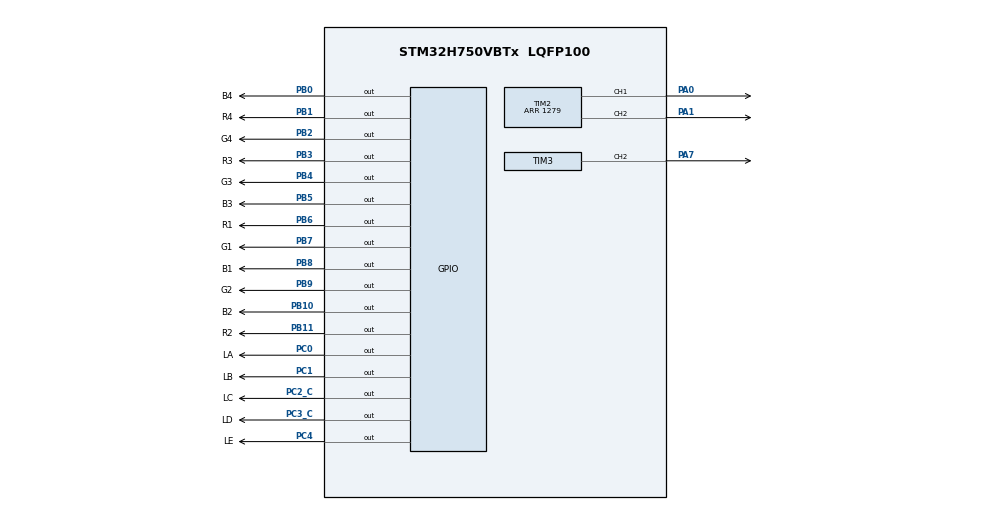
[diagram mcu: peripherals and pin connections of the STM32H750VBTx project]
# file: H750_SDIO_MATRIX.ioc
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CORTEX_M7.CPU_DCache=Enabled
CORTEX_M7.CPU_ICache=Enabled
Dma.Request0=TIM3_CH2
Dma.TIM3_CH2.0.Direction=DMA_MEMORY_TO_PERIPH
Dma.TIM3_CH2.0.EventEnable=DISABLE
Dma.TIM3_CH2.0.FIFOMode=DMA_FIFOMODE_DISABLE
Dma.TIM3_CH2.0.Instance=DMA1_Stream0
Dma.TIM3_CH2.0.MemDataAlignment=DMA_MDATAALIGN_HALFWORD
Dma.TIM3_CH2.0.MemInc=DMA_MINC_ENABLE
Dma.TIM3_CH2.0.Mode=DMA_CIRCULAR
Dma.TIM3_CH2.0.PeriphDataAlignment=DMA_PDATAALIGN_HALFWORD
Dma.TIM3_CH2.0.PeriphInc=DMA_PINC_DISABLE
Dma.TIM3_CH2.0.Polarity=HAL_DMAMUX_REQ_GEN_RISING
Dma.TIM3_CH2.0.Priority=DMA_PRIORITY_VERY_HIGH
Dma.TIM3_CH2.0.RequestNumber=1
Dma.TIM3_CH2.0.SignalID=NONE
Dma.TIM3_CH2.0.SyncEnable=DISABLE
Dma.TIM3_CH2.0.SyncPolarity=HAL_DMAMUX_SYNC_NO_EVENT
Dma.TIM3_CH2.0.SyncRequestNumber=1
Dma.TIM3_CH2.0.SyncSignalID=NONE
Mcu.Family=STM32H7
Mcu.Name=STM32H750VBTx
Mcu.Package=LQFP100
NVIC.DMA1_Stream0_IRQn=true\:0\:0\:false\:false\:true\:false\:true
NVIC.PriorityGroup=NVIC_PRIORITYGROUP_4
NVIC.TIM2_IRQn=true\:0\:0\:false\:false\:true\:true\:true
PA0.GPIO_Speed=GPIO_SPEED_FREQ_VERY_HIGH
PA0.Signal=S_TIM2_CH1
PA1.GPIO_Speed=GPIO_SPEED_FREQ_VERY_HIGH
PA1.Signal=S_TIM2_CH2
PA7.GPIO_PuPd=GPIO_NOPULL
PA7.GPIO_Speed=GPIO_SPEED_FREQ_VERY_HIGH
PA7.Signal=S_TIM3_CH2
PB0.GPIO_Label=B4
PB0.GPIO_ModeDefaultOutputPP=GPIO_MODE_OUTPUT_PP
PB0.GPIO_PuPd=GPIO_NOPULL
PB0.GPIO_Speed=GPIO_SPEED_FREQ_VERY_HIGH
PB0.PinState=GPIO_PIN_RESET
PB0.Signal=GPIO_Output
PB1.GPIO_Label=R4
PB1.GPIO_ModeDefaultOutputPP=GPIO_MODE_OUTPUT_PP
PB1.GPIO_PuPd=GPIO_NOPULL
PB1.GPIO_Speed=GPIO_SPEED_FREQ_VERY_HIGH
PB1.PinState=GPIO_PIN_RESET
PB1.Signal=GPIO_Output
PB10.GPIO_Label=B2
PB10.GPIO_ModeDefaultOutputPP=GPIO_MODE_OUTPUT_PP
PB10.GPIO_PuPd=GPIO_NOPULL
PB10.GPIO_Speed=GPIO_SPEED_FREQ_VERY_HIGH
PB10.PinState=GPIO_PIN_RESET
PB10.Signal=GPIO_Output
PB11.GPIO_Label=R2
PB11.GPIO_ModeDefaultOutputPP=GPIO_MODE_OUTPUT_PP
PB11.GPIO_PuPd=GPIO_NOPULL
PB11.GPIO_Speed=GPIO_SPEED_FREQ_VERY_HIGH
PB11.PinState=GPIO_PIN_RESET
PB11.Signal=GPIO_Output
PB2.GPIO_Label=G4
PB2.GPIO_ModeDefaultOutputPP=GPIO_MODE_OUTPUT_PP
PB2.GPIO_PuPd=GPIO_NOPULL
PB2.GPIO_Speed=GPIO_SPEED_FREQ_VERY_HIGH
PB2.PinState=GPIO_PIN_RESET
PB2.Signal=GPIO_Output
PB3\ (JTDO/TRACESWO).GPIO_Label=R3
PB3\ (JTDO/TRACESWO).GPIO_ModeDefaultOutputPP=GPIO_MODE_OUTPUT_PP
PB3\ (JTDO/TRACESWO).GPIO_PuPd=GPIO_NOPULL
PB3\ (JTDO/TRACESWO).GPIO_Speed=GPIO_SPEED_FREQ_VERY_HIGH
PB3\ (JTDO/TRACESWO).PinState=GPIO_PIN_RESET
PB3\ (JTDO/TRACESWO).Signal=GPIO_Output
PB4\ (NJTRST).GPIO_Label=G3
PB4\ (NJTRST).GPIO_ModeDefaultOutputPP=GPIO_MODE_OUTPUT_PP
PB4\ (NJTRST).GPIO_PuPd=GPIO_NOPULL
PB4\ (NJTRST).GPIO_Speed=GPIO_SPEED_FREQ_VERY_HIGH
PB4\ (NJTRST).PinState=GPIO_PIN_RESET
PB4\ (NJTRST).Signal=GPIO_Output
PB5.GPIO_Label=B3
PB5.GPIO_ModeDefaultOutputPP=GPIO_MODE_OUTPUT_PP
PB5.GPIO_PuPd=GPIO_NOPULL
PB5.GPIO_Speed=GPIO_SPEED_FREQ_VERY_HIGH
PB5.PinState=GPIO_PIN_RESET
PB5.Signal=GPIO_Output
PB6.GPIO_FM6=SYSCFG_PMCR_I2C_PB6_FMP
PB6.GPIO_Label=R1
PB6.GPIO_ModeDefaultOutputPP=GPIO_MODE_OUTPUT_PP
PB6.GPIO_PuPd=GPIO_NOPULL
PB6.GPIO_Speed=GPIO_SPEED_FREQ_VERY_HIGH
PB6.PinState=GPIO_PIN_RESET
PB6.Signal=GPIO_Output
PB7.GPIO_FM7=SYSCFG_PMCR_I2C_PB7_FMP
PB7.GPIO_Label=G1
PB7.GPIO_ModeDefaultOutputPP=GPIO_MODE_OUTPUT_PP
PB7.GPIO_PuPd=GPIO_NOPULL
PB7.GPIO_Speed=GPIO_SPEED_FREQ_VERY_HIGH
PB7.PinState=GPIO_PIN_RESET
PB7.Signal=GPIO_Output
PB8.GPIO_FM8=SYSCFG_PMCR_I2C_PB8_FMP
PB8.GPIO_Label=B1
PB8.GPIO_ModeDefaultOutputPP=GPIO_MODE_OUTPUT_PP
PB8.GPIO_PuPd=GPIO_NOPULL
PB8.GPIO_Speed=GPIO_SPEED_FREQ_VERY_HIGH
PB8.PinState=GPIO_PIN_RESET
PB8.Signal=GPIO_Output
PB9.GPIO_FM9=SYSCFG_PMCR_I2C_PB9_FMP
PB9.GPIO_Label=G2
PB9.GPIO_ModeDefaultOutputPP=GPIO_MODE_OUTPUT_PP
PB9.GPIO_PuPd=GPIO_NOPULL
PB9.GPIO_Speed=GPIO_SPEED_FREQ_VERY_HIGH
PB9.PinState=GPIO_PIN_RESET
PB9.Signal=GPIO_Output
PC0.GPIO_Label=LA
PC0.GPIO_ModeDefaultOutputPP=GPIO_MODE_OUTPUT_PP
PC0.GPIO_PuPd=GPIO_NOPULL
PC0.GPIO_Speed=GPIO_SPEED_FREQ_VERY_HIGH
PC0.PinState=GPIO_PIN_RESET
PC0.Signal=GPIO_Output
PC1.GPIO_Label=LB
PC1.GPIO_ModeDefaultOutputPP=GPIO_MODE_OUTPUT_PP
PC1.GPIO_PuPd=GPIO_NOPULL
PC1.GPIO_Speed=GPIO_SPEED_FREQ_VERY_HIGH
PC1.PinState=GPIO_PIN_RESET
PC1.Signal=GPIO_Output
PC2_C.GPIO_Label=LC
PC2_C.GPIO_ModeDefaultOutputPP=GPIO_MODE_OUTPUT_PP
PC2_C.GPIO_PuPd=GPIO_NOPULL
PC2_C.GPIO_Speed=GPIO_SPEED_FREQ_VERY_HIGH
PC2_C.PinState=GPIO_PIN_RESET
PC2_C.Signal=GPIO_Output
PC3_C.GPIO_Label=LD
PC3_C.GPIO_Speed=GPIO_SPEED_FREQ_VERY_HIGH
PC3_C.Signal=GPIO_Output
PC4.GPIO_Label=LE
PC4.GPIO_ModeDefaultOutputPP=GPIO_MODE_OUTPUT_PP
PC4.GPIO_PuPd=GPIO_NOPULL
PC4.GPIO_Speed=GPIO_SPEED_FREQ_VERY_HIGH
PC4.PinState=GPIO_PIN_RESET
PC4.Signal=GPIO_Output
PH0-OSC_IN\ (PH0).Mode=HSE-External-Oscillator
PH0-OSC_IN\ (PH0).Signal=RCC_OSC_IN
PH1-OSC_OUT\ (PH1).Mode=HSE-External-Oscillator
PH1-OSC_OUT\ (PH1).Signal=RCC_OSC_OUT
ProjectManager.HeapSize=0x400
ProjectManager.StackSize=0x800
ProjectManager.TargetToolchain=STM32CubeIDE
RCC.ADCFreq_Value=50390625
RCC.APB1Freq_Value=90000000
RCC.APB2Freq_Value=90000000
RCC.APB3Freq_Value=90000000
RCC.APB4Freq_Value=90000000
RCC.CortexFreq_Value=180000000
RCC.DIVM1=5
RCC.DIVN1=72
RCC.DIVQ1=20
RCC.HCLKFreq_Value=90000000
RCC.HPRE=RCC_HCLK_DIV2
RCC.HSE_VALUE=25000000
RCC.PLL2FRACN=0
RCC.PLL3FRACN=0
RCC.PLLFRACN=0
RCC.PLLSourceVirtual=RCC_PLLSOURCE_HSE
RCC.SYSCLKFreq_VALUE=180000000
RCC.SYSCLKSource=RCC_SYSCLKSOURCE_PLLCLK
RCC.USBFreq_Value=18000000
SH.S_TIM2_CH1.0=TIM2_CH1,PWM Generation1 CH1
SH.S_TIM2_CH2.0=TIM2_CH2,PWM Generation2 CH2
SH.S_TIM3_CH2.0=TIM3_CH2,PWM Generation2 CH2
TIM2.AutoReloadPreload=TIM_AUTORELOAD_PRELOAD_ENABLE
TIM2.Channel-PWM\ Generation1\ CH1=TIM_CHANNEL_1
TIM2.Channel-PWM\ Generation2\ CH2=TIM_CHANNEL_2
TIM2.OC1Preload_PWM=DISABLE
TIM2.OCFastMode_PWM-PWM\ Generation2\ CH2=TIM_OCFAST_DISABLE
TIM2.Period=1279
TIM2.Pulse-PWM\ Generation1\ CH1=12
TIM2.Pulse-PWM\ Generation2\ CH2=1280
TIM2.TIM_MasterOutputTrigger=TIM_TRGO_UPDATE
TIM2.TIM_MasterSlaveMode=TIM_MASTERSLAVEMODE_DISABLE
TIM3.AutoReloadPreload=TIM_AUTORELOAD_PRELOAD_ENABLE
TIM3.Channel-PWM\ Generation2\ CH2=TIM_CHANNEL_2
TIM3.OCFastMode_PWM-PWM\ Generation2\ CH2=TIM_OCFAST_ENABLE
TIM3.Period=19
TIM3.Prescaler=0
TIM3.Pulse-PWM\ Generation2\ CH2=10
TIM3.TIM_MasterOutputTrigger=TIM_TRGO_UPDATE
TIM3.TIM_MasterSlaveMode=TIM_MASTERSLAVEMODE_ENABLE
VP_TIM2_VS_ClockSourceITR.Mode=TriggerSource_ITR2
VP_TIM2_VS_ControllerModeClock.Mode=Clock Mode
VP_TIM3_VS_ClockSourceINT.Mode=Internal
board=custom

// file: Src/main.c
/* USER CODE BEGIN Header */
/**
  ******************************************************************************
  * @file           : main.c
  * @brief          : Main program body
  ******************************************************************************
  * @attention
  *
  * <h2><center>&copy; Copyright (c) 2020 STMicroelectronics.
  * All rights reserved.</center></h2>
  *
  * This software component is licensed by ST under Ultimate Liberty license
  * SLA0044, the "License"; You may not use this file except in compliance with
  * the License. You may obtain a copy of the License at:
  *                             www.st.com/SLA0044
  *
  ******************************************************************************
  */
/* USER CODE END Header */
#include "main.h"

/* USER CODE BEGIN Includes */
#include "matrix.h"
#include "stdio.h"

/* USER CODE END Includes */

/* USER CODE BEGIN PD */
#define PRESCALER 3U
/* USER CODE END PD */

/* USER CODE BEGIN PV */
extern uint16_t gBuff[];
/* USER CODE END PV */

void SystemClock_Config(void);
static void MX_GPIO_Init(void);
static void MX_DMA_Init(void);
static void MX_TIM2_Init(void);
static void MX_TIM3_Init(void);

int main(void)
{

  /* Enable I-Cache---------------------------------------------------------*/
  SCB_EnableICache();

  /* Enable D-Cache---------------------------------------------------------*/
  SCB_EnableDCache();

  /* MCU Configuration--------------------------------------------------------*/

  /* Reset of all peripherals, Initializes the Flash interface and the Systick. */

  LL_APB4_GRP1_EnableClock(LL_APB4_GRP1_PERIPH_SYSCFG);

  NVIC_SetPriorityGrouping(NVIC_PRIORITYGROUP_4);

  /* System interrupt init*/

  /* Configure the system clock */
  SystemClock_Config();

  /* Initialize all configured peripherals */
  MX_GPIO_Init();
  MX_DMA_Init();
  MX_TIM2_Init();
  MX_TIM3_Init();
  /* USER CODE BEGIN 2 */
    MATRIX_Init( 90 );
  /* plasma(); */
  /* MATRIX_FillScreen(0xFFFF); */
  for (uint16_t i = 0; i < 6144U; i++)
  {
    gBuff[i] = 0xFFF;
  }
  LL_mDelay(300);
/*   LL_DBGMCU_APB1_GRP1_FreezePeriph(LL_DBGMCU_APB1_GRP1_TIM2_STOP);
  LL_DBGMCU_APB1_GRP1_FreezePeriph(LL_DBGMCU_APB1_GRP1_TIM3_STOP); */
  /*! 64 col, 5 Bits per colour channel, 16 rows) */
  LL_DMA_SetDataLength(DMA1, LL_DMA_STREAM_0, 6144U);
  LL_DMA_SetPeriphAddress(DMA1, LL_DMA_STREAM_0, (uint32_t)&(GPIOB->ODR));
  LL_DMA_SetMemoryAddress(DMA1, LL_DMA_STREAM_0, gBuff);
  LL_DMA_SetMemory1Address(DMA1, LL_DMA_STREAM_0, gBuff);
  LL_DMAMUX_EnableEventGeneration( DMAMUX1, LL_DMAMUX_CHANNEL_0);
  LL_DMA_EnableIT_TC(DMA1, LL_DMA_STREAM_0);
  LL_DMA_ClearFlag_TC0(DMA1);
  LL_DMA_EnableStream(DMA1, LL_DMA_STREAM_0);

  LL_TIM_CC_EnableChannel(TIM2, LL_TIM_CHANNEL_CH1);
  LL_TIM_CC_EnableChannel(TIM2, LL_TIM_CHANNEL_CH2);

  LL_TIM_CC_EnableChannel(TIM3, LL_TIM_CHANNEL_CH2);
  LL_TIM_EnableDMAReq_CC2(TIM3);

  LL_TIM_GenerateEvent_UPDATE(TIM3);
  TIM3->SR = 0U;
  /* LL_TIM_EnableIT_UPDATE(TIM3); */

  LL_TIM_GenerateEvent_UPDATE(TIM2);
  LL_TIM_ClearFlag_UPDATE(TIM2);
  TIM2->SR = 0U;
  LL_TIM_EnableIT_UPDATE(TIM2);
  /* LL_TIM_SetCounter(TIM2, 15U); */

  LL_TIM_EnableCounter(TIM2);
  LL_TIM_EnableCounter(TIM3);

  /* LL_TIM_OC_SetCompareCH2(TIM2, 400); */
  LL_TIM_OC_SetCompareCH2(TIM2, 1280U - BRIGHTNESS);

  /* USER CODE END 2 */

  /* Infinite loop */
  /* USER CODE BEGIN WHILE */
  /* plasma(); */
  /* LL_mDelay(3000); */
  /* MATRIX_FillScreen(0xFFFF); */
  while (1)
  {
    // GPIOC->ODR = 6U;
    /* plasma(); */
    /* USER CODE END WHILE */

  }
}

void SystemClock_Config(void)
{
  LL_FLASH_SetLatency(LL_FLASH_LATENCY_1);
  while(LL_FLASH_GetLatency()!= LL_FLASH_LATENCY_1)
  {
  }
  LL_PWR_ConfigSupply(LL_PWR_LDO_SUPPLY);
  LL_PWR_SetRegulVoltageScaling(LL_PWR_REGU_VOLTAGE_SCALE3);
  LL_RCC_HSE_Enable();

   /* Wait till HSE is ready */
  while(LL_RCC_HSE_IsReady() != 1)
  {

  }
  LL_RCC_PLL_SetSource(LL_RCC_PLLSOURCE_HSE);
  LL_RCC_PLL1P_Enable();
  LL_RCC_PLL1_SetVCOInputRange(LL_RCC_PLLINPUTRANGE_4_8);
  LL_RCC_PLL1_SetVCOOutputRange(LL_RCC_PLLVCORANGE_WIDE);
  LL_RCC_PLL1_SetM(5);
  LL_RCC_PLL1_SetN(72);
  LL_RCC_PLL1_SetP(2);
  LL_RCC_PLL1_SetQ(20);
  LL_RCC_PLL1_SetR(2);
  LL_RCC_PLL1_Enable();

   /* Wait till PLL is ready */
  while(LL_RCC_PLL1_IsReady() != 1)
  {
  }

   /* Intermediate AHB prescaler 2 when target frequency clock is higher than 80 MHz */
   LL_RCC_SetAHBPrescaler(LL_RCC_AHB_DIV_2);

  LL_RCC_SetSysClkSource(LL_RCC_SYS_CLKSOURCE_PLL1);
  LL_RCC_SetSysPrescaler(LL_RCC_SYSCLK_DIV_1);
  LL_RCC_SetAHBPrescaler(LL_RCC_AHB_DIV_2);
  LL_RCC_SetAPB1Prescaler(LL_RCC_APB1_DIV_1);
  LL_RCC_SetAPB2Prescaler(LL_RCC_APB2_DIV_1);
  LL_RCC_SetAPB3Prescaler(LL_RCC_APB3_DIV_1);
  LL_RCC_SetAPB4Prescaler(LL_RCC_APB4_DIV_1);

  LL_Init1msTick(180000000);

  LL_SetSystemCoreClock(180000000);
}

static void MX_TIM2_Init(void)
{

  LL_TIM_InitTypeDef TIM_InitStruct = {0};
  LL_TIM_OC_InitTypeDef TIM_OC_InitStruct = {0};

  LL_GPIO_InitTypeDef GPIO_InitStruct = {0};

  /* Peripheral clock enable */
  LL_APB1_GRP1_EnableClock(LL_APB1_GRP1_PERIPH_TIM2);

  /* TIM2 interrupt Init */
  NVIC_SetPriority(TIM2_IRQn, NVIC_EncodePriority(NVIC_GetPriorityGrouping(),0, 0));
  NVIC_EnableIRQ(TIM2_IRQn);

  TIM_InitStruct.Prescaler = 0;
  TIM_InitStruct.CounterMode = LL_TIM_COUNTERMODE_UP;
  TIM_InitStruct.Autoreload = 1279;
  TIM_InitStruct.ClockDivision = LL_TIM_CLOCKDIVISION_DIV1;
  LL_TIM_Init(TIM2, &TIM_InitStruct);
  LL_TIM_EnableARRPreload(TIM2);
  LL_TIM_OC_EnablePreload(TIM2, LL_TIM_CHANNEL_CH1);
  TIM_OC_InitStruct.OCMode = LL_TIM_OCMODE_PWM1;
  TIM_OC_InitStruct.OCState = LL_TIM_OCSTATE_DISABLE;
  TIM_OC_InitStruct.OCNState = LL_TIM_OCSTATE_DISABLE;
  TIM_OC_InitStruct.CompareValue = 12;
  TIM_OC_InitStruct.OCPolarity = LL_TIM_OCPOLARITY_HIGH;
  LL_TIM_OC_Init(TIM2, LL_TIM_CHANNEL_CH1, &TIM_OC_InitStruct);
  LL_TIM_OC_DisableFast(TIM2, LL_TIM_CHANNEL_CH1);
  LL_TIM_OC_EnablePreload(TIM2, LL_TIM_CHANNEL_CH2);
  TIM_OC_InitStruct.CompareValue = 1280;
  LL_TIM_OC_Init(TIM2, LL_TIM_CHANNEL_CH2, &TIM_OC_InitStruct);
  LL_TIM_OC_DisableFast(TIM2, LL_TIM_CHANNEL_CH2);
  LL_TIM_SetTriggerInput(TIM2, LL_TIM_TS_ITR2);
  LL_TIM_SetClockSource(TIM2, LL_TIM_CLOCKSOURCE_EXT_MODE1);
  LL_TIM_DisableIT_TRIG(TIM2);
  LL_TIM_DisableDMAReq_TRIG(TIM2);
  LL_TIM_SetTriggerOutput(TIM2, LL_TIM_TRGO_UPDATE);
  LL_TIM_DisableMasterSlaveMode(TIM2);
  LL_TIM_OC_DisablePreload(TIM2, LL_TIM_CHANNEL_CH1);
  LL_AHB4_GRP1_EnableClock(LL_AHB4_GRP1_PERIPH_GPIOA);
  /**TIM2 GPIO Configuration
  PA0   ------> TIM2_CH1
  PA1   ------> TIM2_CH2
  */
  GPIO_InitStruct.Pin = LL_GPIO_PIN_0|LL_GPIO_PIN_1;
  GPIO_InitStruct.Mode = LL_GPIO_MODE_ALTERNATE;
  GPIO_InitStruct.Speed = LL_GPIO_SPEED_FREQ_VERY_HIGH;
  GPIO_InitStruct.OutputType = LL_GPIO_OUTPUT_PUSHPULL;
  GPIO_InitStruct.Pull = LL_GPIO_PULL_NO;
  GPIO_InitStruct.Alternate = LL_GPIO_AF_1;
  LL_GPIO_Init(GPIOA, &GPIO_InitStruct);

}

static void MX_TIM3_Init(void)
{

  LL_TIM_InitTypeDef TIM_InitStruct = {0};
  LL_TIM_OC_InitTypeDef TIM_OC_InitStruct = {0};

  LL_GPIO_InitTypeDef GPIO_InitStruct = {0};

  /* Peripheral clock enable */
  LL_APB1_GRP1_EnableClock(LL_APB1_GRP1_PERIPH_TIM3);

  /* TIM3 DMA Init */

  /* TIM3_CH2 Init */
  LL_DMA_SetPeriphRequest(DMA1, LL_DMA_STREAM_0, LL_DMAMUX1_REQ_TIM3_CH2);

  LL_DMA_SetDataTransferDirection(DMA1, LL_DMA_STREAM_0, LL_DMA_DIRECTION_MEMORY_TO_PERIPH);

  LL_DMA_SetStreamPriorityLevel(DMA1, LL_DMA_STREAM_0, LL_DMA_PRIORITY_VERYHIGH);

  LL_DMA_SetMode(DMA1, LL_DMA_STREAM_0, LL_DMA_MODE_CIRCULAR);

  LL_DMA_SetPeriphIncMode(DMA1, LL_DMA_STREAM_0, LL_DMA_PERIPH_NOINCREMENT);

  LL_DMA_SetMemoryIncMode(DMA1, LL_DMA_STREAM_0, LL_DMA_MEMORY_INCREMENT);

  LL_DMA_SetPeriphSize(DMA1, LL_DMA_STREAM_0, LL_DMA_PDATAALIGN_HALFWORD);

  LL_DMA_SetMemorySize(DMA1, LL_DMA_STREAM_0, LL_DMA_MDATAALIGN_HALFWORD);

  LL_DMA_DisableFifoMode(DMA1, LL_DMA_STREAM_0);

  TIM_InitStruct.Prescaler = 0;
  TIM_InitStruct.CounterMode = LL_TIM_COUNTERMODE_UP;
  TIM_InitStruct.Autoreload = 19;
  TIM_InitStruct.ClockDivision = LL_TIM_CLOCKDIVISION_DIV1;
  LL_TIM_Init(TIM3, &TIM_InitStruct);
  LL_TIM_EnableARRPreload(TIM3);
  LL_TIM_SetClockSource(TIM3, LL_TIM_CLOCKSOURCE_INTERNAL);
  LL_TIM_OC_EnablePreload(TIM3, LL_TIM_CHANNEL_CH2);
  TIM_OC_InitStruct.OCMode = LL_TIM_OCMODE_PWM1;
  TIM_OC_InitStruct.OCState = LL_TIM_OCSTATE_DISABLE;
  TIM_OC_InitStruct.OCNState = LL_TIM_OCSTATE_DISABLE;
  TIM_OC_InitStruct.CompareValue = 10;
  TIM_OC_InitStruct.OCPolarity = LL_TIM_OCPOLARITY_HIGH;
  LL_TIM_OC_Init(TIM3, LL_TIM_CHANNEL_CH2, &TIM_OC_InitStruct);
  LL_TIM_OC_EnableFast(TIM3, LL_TIM_CHANNEL_CH2);
  LL_TIM_SetTriggerOutput(TIM3, LL_TIM_TRGO_UPDATE);
  LL_TIM_EnableMasterSlaveMode(TIM3);
  LL_AHB4_GRP1_EnableClock(LL_AHB4_GRP1_PERIPH_GPIOA);
  /**TIM3 GPIO Configuration
  PA7   ------> TIM3_CH2
  */
  GPIO_InitStruct.Pin = LL_GPIO_PIN_7;
  GPIO_InitStruct.Mode = LL_GPIO_MODE_ALTERNATE;
  GPIO_InitStruct.Speed = LL_GPIO_SPEED_FREQ_VERY_HIGH;
  GPIO_InitStruct.OutputType = LL_GPIO_OUTPUT_PUSHPULL;
  GPIO_InitStruct.Pull = LL_GPIO_PULL_NO;
  GPIO_InitStruct.Alternate = LL_GPIO_AF_2;
  LL_GPIO_Init(GPIOA, &GPIO_InitStruct);

}

static void MX_DMA_Init(void)
{

  /* Init with LL driver */
  /* DMA controller clock enable */
  LL_AHB1_GRP1_EnableClock(LL_AHB1_GRP1_PERIPH_DMA1);

  /* DMA interrupt init */
  /* DMA1_Stream0_IRQn interrupt configuration */
  NVIC_SetPriority(DMA1_Stream0_IRQn, NVIC_EncodePriority(NVIC_GetPriorityGrouping(),0, 0));
  NVIC_EnableIRQ(DMA1_Stream0_IRQn);

}

static void MX_GPIO_Init(void)
{
  LL_GPIO_InitTypeDef GPIO_InitStruct = {0};

  /* GPIO Ports Clock Enable */
  LL_AHB4_GRP1_EnableClock(LL_AHB4_GRP1_PERIPH_GPIOH);
  LL_AHB4_GRP1_EnableClock(LL_AHB4_GRP1_PERIPH_GPIOC);
  LL_AHB4_GRP1_EnableClock(LL_AHB4_GRP1_PERIPH_GPIOA);
  LL_AHB4_GRP1_EnableClock(LL_AHB4_GRP1_PERIPH_GPIOB);

  /**/
  LL_GPIO_ResetOutputPin(GPIOC, LA_Pin|LB_Pin|LC_Pin|LD_Pin
                          |LE_Pin);

  /**/
  LL_GPIO_ResetOutputPin(GPIOB, B4_Pin|R4_Pin|G4_Pin|B2_Pin
                          |R2_Pin|R3_Pin|G3_Pin|B3_Pin
                          |R1_Pin|G1_Pin|B1_Pin|G2_Pin);

  /**/
  GPIO_InitStruct.Pin = LA_Pin|LB_Pin|LC_Pin|LD_Pin
                          |LE_Pin;
  GPIO_InitStruct.Mode = LL_GPIO_MODE_OUTPUT;
  GPIO_InitStruct.Speed = LL_GPIO_SPEED_FREQ_VERY_HIGH;
  GPIO_InitStruct.OutputType = LL_GPIO_OUTPUT_PUSHPULL;
  GPIO_InitStruct.Pull = LL_GPIO_PULL_NO;
  LL_GPIO_Init(GPIOC, &GPIO_InitStruct);

  /**/
  GPIO_InitStruct.Pin = B4_Pin|R4_Pin|G4_Pin|B2_Pin
                          |R2_Pin|R3_Pin|G3_Pin|B3_Pin
                          |R1_Pin|G1_Pin|B1_Pin|G2_Pin;
  GPIO_InitStruct.Mode = LL_GPIO_MODE_OUTPUT;
  GPIO_InitStruct.Speed = LL_GPIO_SPEED_FREQ_VERY_HIGH;
  GPIO_InitStruct.OutputType = LL_GPIO_OUTPUT_PUSHPULL;
  GPIO_InitStruct.Pull = LL_GPIO_PULL_NO;
  LL_GPIO_Init(GPIOB, &GPIO_InitStruct);

  /**/
  LL_SYSCFG_EnableFastModePlus(LL_SYSCFG_I2C_FASTMODEPLUS_PB6);

  /**/
  LL_SYSCFG_EnableFastModePlus(LL_SYSCFG_I2C_FASTMODEPLUS_PB7);

  /**/
  LL_SYSCFG_EnableFastModePlus(LL_SYSCFG_I2C_FASTMODEPLUS_PB8);

  /**/
  LL_SYSCFG_EnableFastModePlus(LL_SYSCFG_I2C_FASTMODEPLUS_PB9);

}

void Error_Handler(void)
{
}

/************************ (C) COPYRIGHT STMicroelectronics *****END OF FILE****/
